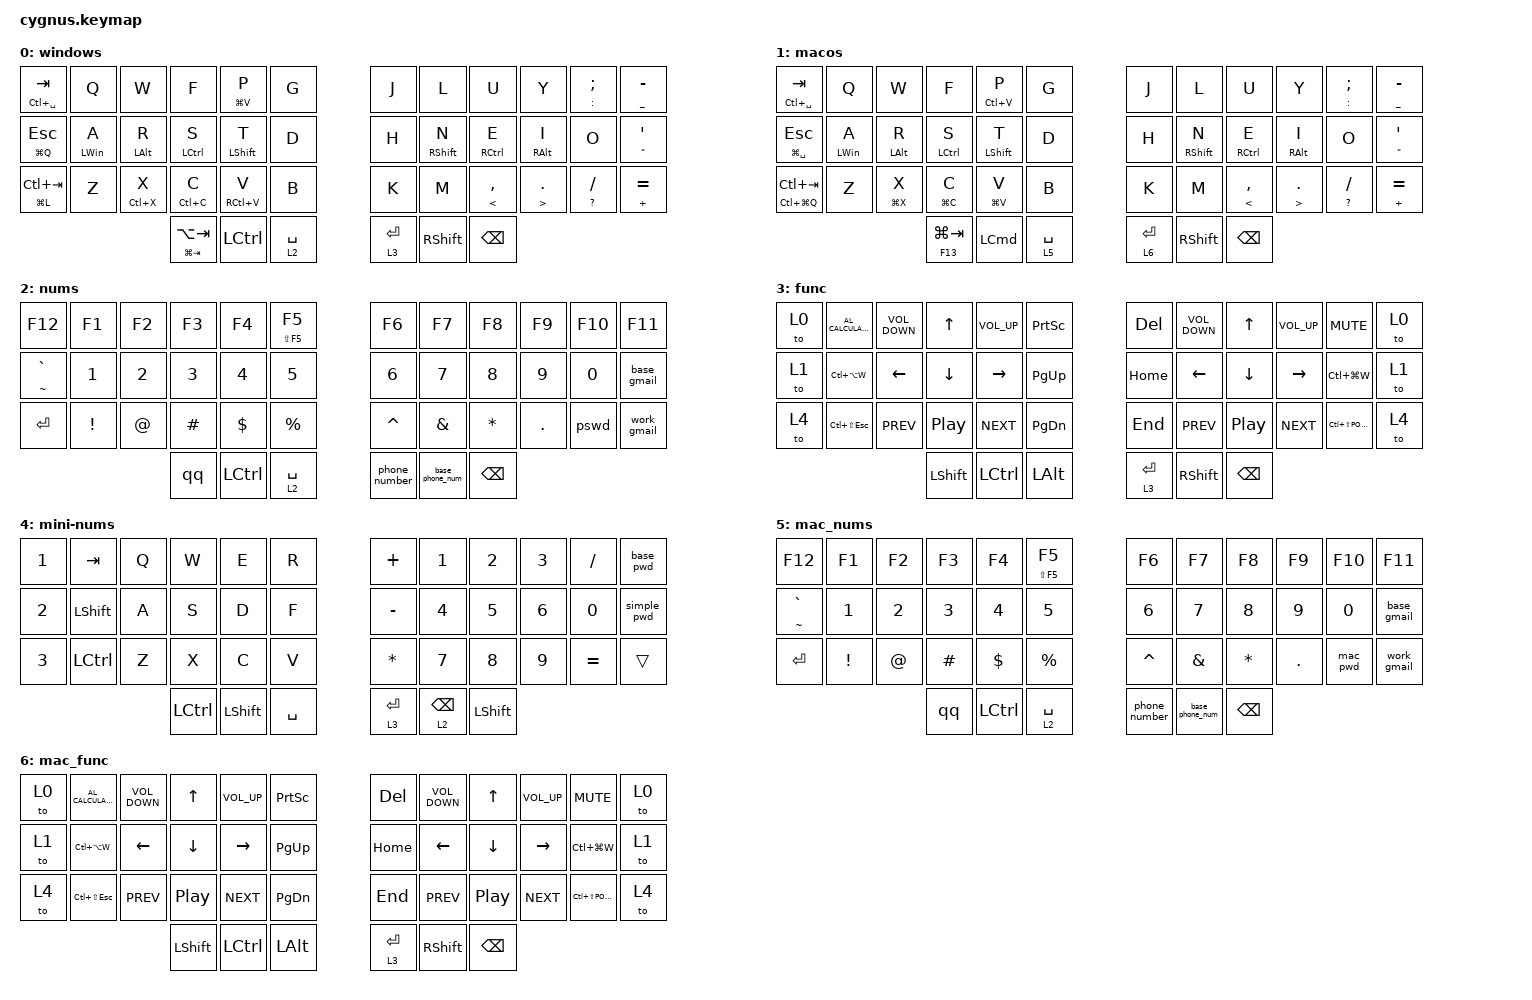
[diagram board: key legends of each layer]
/*
 * Copyright (c) 2020 The ZMK Contributors
 *
 * SPDX-License-Identifier: MIT
 */

#include <behaviors.dtsi>
#include <dt-bindings/zmk/keys.h>

&mt {
    tapping-term-ms = <200>;
    flavor = "tap-preferred";
};

&sk {
    release-after-ms = <2000>;
    quick-release;
};

/ {
    combos {
        compatible = "zmk,combos";

        left_bkt {
            bindings = <&kp LBKT>;
            key-positions = <4 5>;
            timeout-ms = <50>;
        };

        right_bkt {
            bindings = <&kp RBKT>;
            key-positions = <7 6>;
            timeout-ms = <50>;
        };

        left_par {
            bindings = <&kp LEFT_PARENTHESIS>;
            key-positions = <16 17>;
            timeout-ms = <50>;
        };

        right_par {
            bindings = <&kp RIGHT_PARENTHESIS>;
            key-positions = <19 18>;
            timeout-ms = <50>;
        };

        left_brace {
            bindings = <&kp LEFT_BRACE>;
            key-positions = <28 29>;
            timeout-ms = <50>;
        };

        right_brace {
            bindings = <&kp RIGHT_BRACE>;
            key-positions = <31 30>;
            timeout-ms = <50>;
        };

        bac {
            bindings = <&kp BACKSLASH>;
            key-positions = <6 5>;
        };

        pipe {
            bindings = <&kp PIPE>;
            key-positions = <18 17>;
        };

        game {
            bindings = <&to 4>;
            key-positions = <0 24 11 35>;
        };

        colemak {
            bindings = <&to 0>;
            key-positions = <11 35>;
        };

        qwerty {
            bindings = <&to 1>;
            key-positions = <0 24>;
        };
    };

    behaviors {
        hm: homerow_mods {
            compatible = "zmk,behavior-hold-tap";
            label = "HOMEROW_MODS";
            #binding-cells = <2>;
            tapping-term-ms = <400>;
            quick_tap_ms = <0>;
            flavor = "tap-preferred";
            bindings = <&kp>, <&kp>;

            quick-tap-ms = <10>;
            global-quick-tap;
        };

        ltq: ltq {
            compatible = "zmk,behavior-hold-tap";
            label = "LTQ";
            #binding-cells = <2>;
            tapping-term-ms = <399>;
            quick_tap_ms = <0>;
            flavor = "hold-preferred";
            bindings = <&mo>, <&kp>;

            quick-tap-ms = <10>;
            global-quick-tap;
        };

        as: as {
            compatible = "zmk,behavior-hold-tap";
            label = "AUTO_SHIFT";
            bindings = <&kp>, <&kp>;

            #binding-cells = <2>;
            tapping-term-ms = <335>;
            quick-tap-ms = <0>;
            flavor = "tap-preferred";
        };
    };

    macros {
        next_line: PASW {
            compatible = "zmk,behavior-macro";
            #binding-cells = <0>;
            bindings = <&kp END &kp ENTER>;
            label = "PASW";
        };

        pswd: pswd {
            compatible = "zmk,behavior-macro";
            #binding-cells = <0>;
            bindings = <&kp N4 &kp N7 &kp N8 &kp N9 &kp N6 &kp N5 &kp N2 &kp N0>;
            label = "PSWD";
        };

        mac_pwd: mac_pwd {
            compatible = "zmk,behavior-macro";
            #binding-cells = <0>;
            bindings = <&kp N3 &kp N3 &kp N5 &kp N6 &kp ENTER>;
            label = "MAC_PWD";
        };

        base_pwd: new_macro {
            compatible = "zmk,behavior-macro";
            #binding-cells = <0>;
            bindings = <&kp LS(I) &kp SQT &kp M &kp DOT &kp LEFT>;
            label = "NEW_MACRO";
        };

        simple_pwd: simple_pwd {
            compatible = "zmk,behavior-macro";
            #binding-cells = <0>;
            bindings = <&kp C &kp A &kp L &kp L &kp N1 &kp N5 &kp N6 &kp N4 &kp N7 &kp N6 &kp N3 &kp N8 &kp N7 &kp N9 &kp N7>;
            label = "SIMPLE_PWD";
        };

        base_phone_num: base_phone_num {
            compatible = "zmk,behavior-macro";
            #binding-cells = <0>;
            bindings = <&kp N1 &kp N5 &kp N6 &kp N4 &kp N7 &kp N6 &kp N3 &kp N8 &kp N7 &kp N9 &kp N7>;
            label = "BASE_PHONE_NUM";
        };

        phone_number: phone_number {
            compatible = "zmk,behavior-macro";
            #binding-cells = <0>;
            bindings = <&kp N1 &kp N5 &kp N6 &kp N6 &kp N9 &kp N6 &kp N5 &kp N7 &kp N7 &kp N0 &kp N3>;
            label = "PHONE_NUMBER";
        };

        qq: qq {
            compatible = "zmk,behavior-macro";
            #binding-cells = <0>;
            bindings = <&kp N2 &kp N9 &kp N4 &kp N7 &kp N1 &kp N8 &kp N5 &kp N8 &kp N1 &kp AT &kp Q &kp Q &kp DOT &kp C &kp O &kp M>;
            label = "QQ";
        };

        base_gmail: base_gmail {
            compatible = "zmk,behavior-macro";
            #binding-cells = <0>;
            bindings = <&kp U &kp C &kp C &kp W &kp N1 &kp N2 &kp N1 &kp N3 &kp N8 &kp AT &kp G &kp M &kp A &kp I &kp L &kp DOT &kp C &kp O &kp M>;
            label = "BASE_GMAIL";
        };

        work_gmail: work_gmail {
            compatible = "zmk,behavior-macro";
            #binding-cells = <0>;
            bindings = <&kp Y &kp U &kp N &kp G &kp DOT &kp V &kp E &kp N &kp U &kp E &kp AT &kp G &kp M &kp A &kp I &kp L &kp DOT &kp C &kp O &kp M>;
            label = "WORK_GMAIL";
        };
    };

    keymap {
        compatible = "zmk,keymap";

        /* colemak layout */
        /* [TAB] q w f p g j l u y ; [ */
        /* [ESCAPE] a r s t d h n e i o ' */
        /* [SHIFT] z x c v b k m , . / [FN]*/
        /* [CTRL] [ALT] [SPACE] [ENTER] [WIN] [BACKSPACE] */

        windows {
            bindings = <
&hm LC(SPACE) TAB  &kp Q           &kp W                &kp F               &hm LG(V) P       &kp G         &kp J            &kp L              &kp U                &kp Y                    &as COLON SEMICOLON  &as UNDERSCORE MINUS
&hm LG(Q) ESCAPE   &hm LEFT_WIN A  &hm LEFT_ALT R       &hm LEFT_CONTROL S  &hm LEFT_SHIFT T  &kp D         &kp H            &hm RIGHT_SHIFT N  &hm RIGHT_CONTROL E  &hm RIGHT_ALT I          &kp O                &as DOUBLE_QUOTES SQT
&hm LG(L) LC(TAB)  &kp Z           &hm LC(X) X          &hm LC(C) C         &hm RC(V) V       &kp B         &kp K            &kp M              &as LESS_THAN COMMA  &as GREATER_THAN PERIOD  &as QUESTION SLASH   &as PLUS EQUAL
                                   &hm LG(TAB) LA(TAB)  &kp LEFT_CONTROL    &lt 2 SPACE       &ltq 3 ENTER  &kp RIGHT_SHIFT  &kp BACKSPACE
            >;
        };

        macos {
            bindings = <
&hm LC(SPACE) TAB      &kp Q           &kp W            &kp F               &hm LC(V) P       &kp G         &kp J            &kp L              &kp U                &kp Y                    &as COLON SEMICOLON  &as UNDERSCORE MINUS
&hm LG(SPACE) ESCAPE   &hm LEFT_WIN A  &hm LEFT_ALT R   &hm LEFT_CONTROL S  &hm LEFT_SHIFT T  &kp D         &kp H            &hm RIGHT_SHIFT N  &hm RIGHT_CONTROL E  &hm RIGHT_ALT I          &kp O                &as DOUBLE_QUOTES SQT
&hm LC(LG(Q)) LC(TAB)  &kp Z           &hm LG(X) X      &hm LG(C) C         &hm LG(V) V       &kp B         &kp K            &kp M              &as LESS_THAN COMMA  &as GREATER_THAN PERIOD  &as QUESTION SLASH   &as PLUS EQUAL
                                       &hm F13 LG(TAB)  &kp LEFT_COMMAND    &lt 5 SPACE       &ltq 6 ENTER  &kp RIGHT_SHIFT  &kp BACKSPACE
            >;
        };

        nums {
            bindings = <
&kp F12          &kp F1           &kp F2        &kp F3            &kp F4       &as LS(F5) F5  &kp F6           &kp F7         &kp F8        &kp F9      &kp F10  &kp F11
&as TILDE GRAVE  &kp NUMBER_1     &kp NUMBER_2  &kp NUMBER_3      &kp N4       &kp N5         &kp N6           &kp N7         &kp N8        &kp N9      &kp N0   &base_gmail
&kp ENTER        &kp EXCLAMATION  &kp AT_SIGN   &kp HASH          &kp DOLLAR   &kp PERCENT    &kp CARET        &kp AMPERSAND  &kp ASTERISK  &kp PERIOD  &pswd    &work_gmail
                                  &qq           &kp LEFT_CONTROL  &lt 2 SPACE  &phone_number  &base_phone_num  &kp BACKSPACE
            >;
        };

        func {
            bindings = <
&to 0  &kp C_AL_CALCULATOR  &kp C_VOLUME_DOWN  &kp UP_ARROW      &kp C_VOLUME_UP  &kp PRINTSCREEN  &kp DELETE       &kp C_VOLUME_DOWN  &kp UP_ARROW      &kp C_VOL_UP  &kp C_MUTE           &to 0
&to 1  &kp LC(LA(W))        &kp LEFT           &kp DOWN          &kp RIGHT        &kp PAGE_UP      &kp HOME         &kp LEFT           &kp DOWN          &kp RIGHT     &kp LC(LG(W))        &to 1
&to 4  &kp LC(LS(ESCAPE))   &kp C_PREV         &kp C_PLAY_PAUSE  &kp C_NEXT       &kp PAGE_DOWN    &kp END          &kp C_PREV         &kp C_PLAY_PAUSE  &kp C_NEXT    &kp LC(LS(C_POWER))  &to 4
                            &kp LEFT_SHIFT     &kp LEFT_CONTROL  &kp LEFT_ALT     &ltq 3 ENTER     &kp RIGHT_SHIFT  &kp BACKSPACE
            >;
        };

        mini-nums {
            bindings = <
&kp NUMBER_1  &kp TAB           &kp Q             &kp W           &kp E      &kp R         &kp PLUS          &kp N1          &kp N2  &kp N3  &kp SLASH  &base_pwd
&kp NUMBER_2  &kp LEFT_SHIFT    &kp A             &kp S           &kp D      &kp F         &kp MINUS         &kp N4          &kp N5  &kp N6  &kp N0     &simple_pwd
&kp NUMBER_3  &kp LEFT_CONTROL  &kp Z             &kp X           &kp C      &kp V         &kp ASTERISK      &kp N7          &kp N8  &kp N9  &kp EQUAL  &trans
                                &kp LEFT_CONTROL  &kp LEFT_SHIFT  &kp SPACE  &ltq 3 ENTER  &ltq 2 BACKSPACE  &kp LEFT_SHIFT
            >;
        };

        mac_nums {
            bindings = <
&kp F12          &kp F1           &kp F2        &kp F3            &kp F4       &as LS(F5) F5  &kp F6           &kp F7         &kp F8        &kp F9      &kp F10   &kp F11
&as TILDE GRAVE  &kp NUMBER_1     &kp NUMBER_2  &kp NUMBER_3      &kp N4       &kp N5         &kp N6           &kp N7         &kp N8        &kp N9      &kp N0    &base_gmail
&kp ENTER        &kp EXCLAMATION  &kp AT_SIGN   &kp HASH          &kp DOLLAR   &kp PERCENT    &kp CARET        &kp AMPERSAND  &kp ASTERISK  &kp PERIOD  &mac_pwd  &work_gmail
                                  &qq           &kp LEFT_CONTROL  &lt 2 SPACE  &phone_number  &base_phone_num  &kp BACKSPACE
            >;
        };

        mac_func {
            bindings = <
&to 0  &kp C_AL_CALCULATOR  &kp C_VOLUME_DOWN  &kp UP_ARROW      &kp C_VOLUME_UP  &kp PRINTSCREEN  &kp DELETE       &kp C_VOLUME_DOWN  &kp UP_ARROW      &kp C_VOL_UP  &kp C_MUTE           &to 0
&to 1  &kp LC(LA(W))        &kp LEFT           &kp DOWN          &kp RIGHT        &kp PAGE_UP      &kp HOME         &kp LEFT           &kp DOWN          &kp RIGHT     &kp LC(LG(W))        &to 1
&to 4  &kp LC(LS(ESCAPE))   &kp C_PREV         &kp C_PLAY_PAUSE  &kp C_NEXT       &kp PAGE_DOWN    &kp END          &kp C_PREV         &kp C_PLAY_PAUSE  &kp C_NEXT    &kp LC(LS(C_POWER))  &to 4
                            &kp LEFT_SHIFT     &kp LEFT_CONTROL  &kp LEFT_ALT     &ltq 3 ENTER     &kp RIGHT_SHIFT  &kp BACKSPACE
            >;
        };
    };
};
